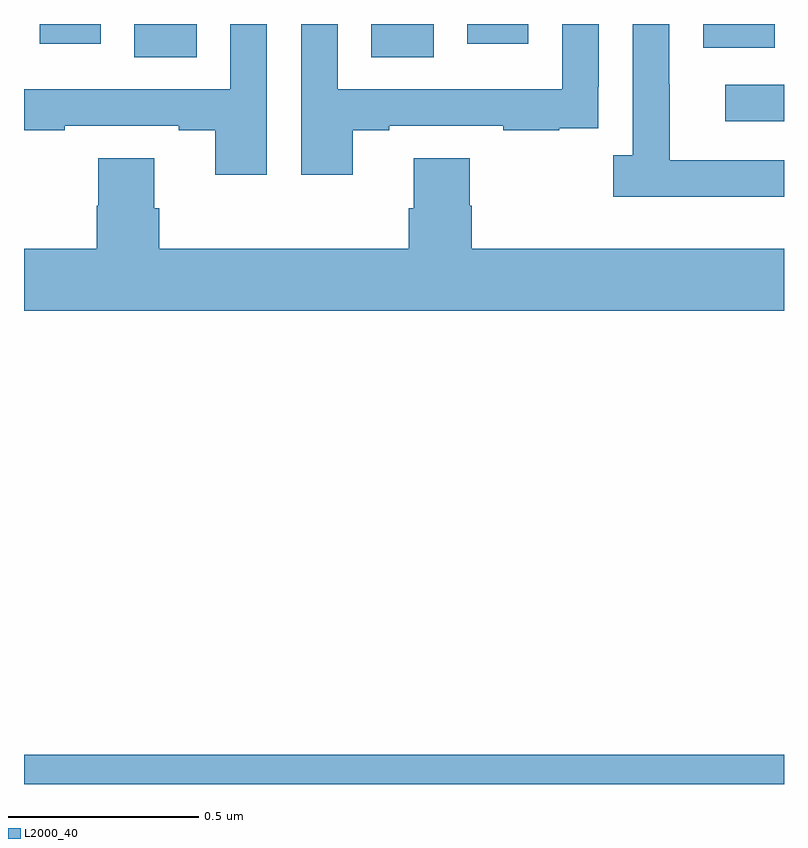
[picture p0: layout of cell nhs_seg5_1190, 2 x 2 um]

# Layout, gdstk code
import gdstk
lib = gdstk.Library(unit=1e-6, precision=1e-09)
def R(c, l, rs):  # rectangles x0, y0, x1, y1
    for r in rs: c.add(gdstk.rectangle(r[:2], r[2:], *l))
def P(c, l, *ps):  # polygons
    for p in ps: c.add(gdstk.Polygon(p, *l))
L2000_40 = (2000, 40)

nhs_seg5_1190 = lib.new_cell('nhs_seg5_1190')
R(nhs_seg5_1190, L2000_40, [(126,904.799,128,904.876), (127.845,906.543,128,906.639), (126.29,906.712,126.454,906.799), (126.914,906.712,127.078,906.799), (127.787,906.737,127.975,906.799), (126.041,906.747,126.202,906.799), (127.166,906.747,127.327,906.799)])
P(nhs_seg5_1190, L2000_40, [(126.865,906.519),(126.961,906.519),(126.961,906.531),(127.261,906.531),(127.261,906.519),(127.409,906.519),(127.409,906.525),(127.511,906.525),(127.511,906.634),(127.512,906.634),(127.512,906.799),(127.416,906.799),(127.416,906.627),(126.825,906.627),(126.825,906.799),(126.729,906.799),(126.729,906.402),(126.865,906.402)],
  [(126.639,906.799),(126.543,906.799),(126.543,906.627),(126,906.627),(126,906.519),(126.107,906.519),(126.107,906.531),(126.407,906.531),(126.407,906.519),(126.503,906.519),(126.503,906.402),(126.639,906.402)],
  [(128,906.441),(127.699,906.441),(127.699,906.641),(127.698,906.641),(127.698,906.799),(127.602,906.799),(127.602,906.454),(127.551,906.454),(127.551,906.344),(128,906.344)],
  [(128,906.208),(127.178,906.208),(127.178,906.321),(127.173,906.321),(127.173,906.446),(127.025,906.446),(127.025,906.314),(127.013,906.314),(127.013,906.208),(126.356,906.208),(126.356,906.314),(126.343,906.314),(126.343,906.446),(126.196,906.446),(126.196,906.321),(126.191,906.321),(126.191,906.208),(126,906.208),(126,906.044),(128,906.044)])

lib.write_gds('nhs_seg5_1190.gds')
